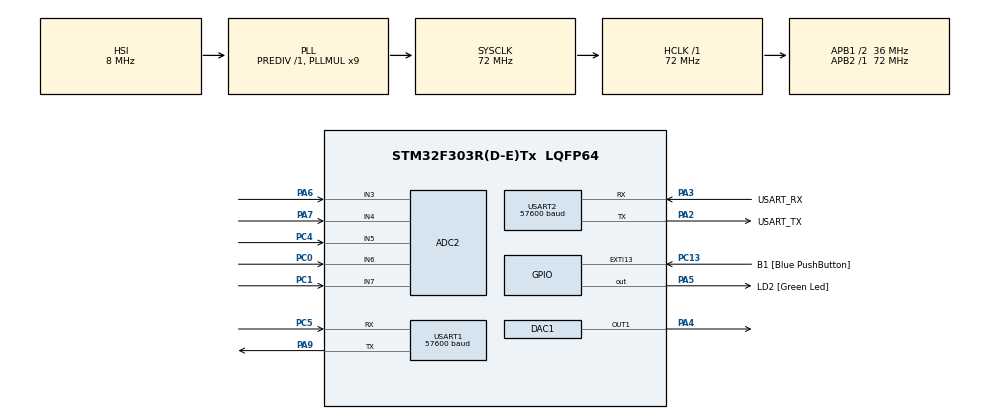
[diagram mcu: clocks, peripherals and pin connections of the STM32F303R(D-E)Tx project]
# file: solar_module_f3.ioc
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ADC2.Channel-0\#ChannelRegularConversion=ADC_CHANNEL_3
ADC2.Channel-1\#ChannelRegularConversion=ADC_CHANNEL_4
ADC2.Channel-2\#ChannelRegularConversion=ADC_CHANNEL_5
ADC2.Channel-3\#ChannelRegularConversion=ADC_CHANNEL_6
ADC2.Channel-4\#ChannelRegularConversion=ADC_CHANNEL_7
ADC2.ClockPrescaler=ADC_CLOCK_ASYNC_DIV1
ADC2.ContinuousConvMode=DISABLE
ADC2.DMAContinuousRequests=ENABLE
ADC2.DiscontinuousConvMode=DISABLE
ADC2.EOCSelection=ADC_EOC_SEQ_CONV
ADC2.EnableInjectedConversion=ENABLE
ADC2.ExternalTrigConv=ADC_EXTERNALTRIGCONV_T4_TRGO
ADC2.NbrOfConversion=5
ADC2.NbrOfConversionFlag=1
ADC2.Offset-0\#ChannelRegularConversion=0
ADC2.Offset-1\#ChannelRegularConversion=0
ADC2.Offset-2\#ChannelRegularConversion=0
ADC2.Offset-3\#ChannelRegularConversion=0
ADC2.Offset-4\#ChannelRegularConversion=0
ADC2.OffsetNumber-0\#ChannelRegularConversion=ADC_OFFSET_NONE
ADC2.OffsetNumber-1\#ChannelRegularConversion=ADC_OFFSET_NONE
ADC2.OffsetNumber-2\#ChannelRegularConversion=ADC_OFFSET_NONE
ADC2.OffsetNumber-3\#ChannelRegularConversion=ADC_OFFSET_NONE
ADC2.OffsetNumber-4\#ChannelRegularConversion=ADC_OFFSET_NONE
ADC2.Rank-0\#ChannelRegularConversion=1
ADC2.Rank-1\#ChannelRegularConversion=2
ADC2.Rank-2\#ChannelRegularConversion=3
ADC2.Rank-3\#ChannelRegularConversion=4
ADC2.Rank-4\#ChannelRegularConversion=5
ADC2.SamplingTime-0\#ChannelRegularConversion=ADC_SAMPLETIME_601CYCLES_5
ADC2.SamplingTime-1\#ChannelRegularConversion=ADC_SAMPLETIME_601CYCLES_5
ADC2.SamplingTime-2\#ChannelRegularConversion=ADC_SAMPLETIME_601CYCLES_5
ADC2.SamplingTime-3\#ChannelRegularConversion=ADC_SAMPLETIME_601CYCLES_5
ADC2.SamplingTime-4\#ChannelRegularConversion=ADC_SAMPLETIME_601CYCLES_5
DAC1.DAC_Trigger=DAC_TRIGGER_NONE
Dma.ADC2.0.Direction=DMA_PERIPH_TO_MEMORY
Dma.ADC2.0.Instance=DMA2_Channel1
Dma.ADC2.0.MemDataAlignment=DMA_MDATAALIGN_HALFWORD
Dma.ADC2.0.MemInc=DMA_MINC_ENABLE
Dma.ADC2.0.Mode=DMA_CIRCULAR
Dma.ADC2.0.PeriphDataAlignment=DMA_PDATAALIGN_HALFWORD
Dma.ADC2.0.PeriphInc=DMA_PINC_DISABLE
Dma.ADC2.0.Priority=DMA_PRIORITY_LOW
Dma.Request0=ADC2
Mcu.Family=STM32F3
Mcu.Name=STM32F303R(D-E)Tx
Mcu.Package=LQFP64
NVIC.DMA2_Channel1_IRQn=true\:0\:0\:false\:false\:true\:false
NVIC.PriorityGroup=NVIC_PRIORITYGROUP_0
NVIC.USART1_IRQn=true\:0\:0\:false\:false\:true\:true
NVIC.USART2_IRQn=true\:0\:0\:false\:false\:true\:true
PA13.GPIO_Label=TMS
PA13.Mode=Serial_Wire
PA13.Signal=SYS_JTMS-SWDIO
PA14.GPIO_Label=TCK
PA14.Mode=Serial_Wire
PA14.Signal=SYS_JTCK-SWCLK
PA2.GPIO_Label=USART_TX
PA2.GPIO_Mode=GPIO_MODE_AF_PP
PA2.GPIO_PuPd=GPIO_NOPULL
PA2.GPIO_Speed=GPIO_SPEED_FREQ_LOW
PA2.Mode=Asynchronous
PA2.Signal=USART2_TX
PA3.GPIO_Label=USART_RX
PA3.GPIO_Mode=GPIO_MODE_AF_PP
PA3.GPIO_PuPd=GPIO_NOPULL
PA3.GPIO_Speed=GPIO_SPEED_FREQ_LOW
PA3.Mode=Asynchronous
PA3.Signal=USART2_RX
PA4.Signal=COMP_DAC11_group
PA5.GPIO_Label=LD2 [Green Led]
PA5.GPIO_Mode=GPIO_MODE_OUTPUT_PP
PA5.GPIO_PuPd=GPIO_NOPULL
PA5.GPIO_Speed=GPIO_SPEED_FREQ_LOW
PA5.Signal=GPIO_Output
PA6.Mode=IN3-Single-Ended
PA6.Signal=ADC2_IN3
PA7.Mode=IN4-Single-Ended
PA7.Signal=ADC2_IN4
PA9.Mode=Asynchronous
PA9.Signal=USART1_TX
PB3.GPIO_Label=SWO
PB3.Signal=SYS_JTDO-TRACESWO
PC0.Signal=ADCx_IN6
PC1.Signal=ADCx_IN7
PC13.GPIO_Label=B1 [Blue PushButton]
PC13.GPIO_ModeDefaultEXTI=GPIO_MODE_IT_FALLING
PC13.Signal=GPXTI13
PC14-OSC32_IN.Mode=LSE-External-Oscillator
PC14-OSC32_IN.Signal=RCC_OSC32_IN
PC15-OSC32_OUT.Mode=LSE-External-Oscillator
PC15-OSC32_OUT.Signal=RCC_OSC32_OUT
PC4.Mode=IN5-Single-Ended
PC4.Signal=ADC2_IN5
PC5.Mode=Asynchronous
PC5.Signal=USART1_RX
PF0-OSC_IN.Mode=HSE-External-Clock-Source
PF0-OSC_IN.Signal=RCC_OSC_IN
PF1-OSC_OUT.Signal=RCC_OSC_OUT
ProjectManager.HeapSize=0x200
ProjectManager.StackSize=0x400
ProjectManager.TargetToolchain=Makefile
RCC.ADC12PRES=RCC_ADC12PLLCLK_DIV64
RCC.AHBFreq_Value=72000000
RCC.APB1CLKDivider=RCC_HCLK_DIV2
RCC.APB1Freq_Value=36000000
RCC.APB1TimFreq_Value=72000000
RCC.APB2Freq_Value=72000000
RCC.APB2TimFreq_Value=72000000
RCC.CortexFreq_Value=72000000
RCC.HCLKFreq_Value=72000000
RCC.HSE_VALUE=8000000
RCC.HSI_VALUE=8000000
RCC.PLLM=8
RCC.PLLMUL=RCC_PLL_MUL9
RCC.PLLN=336
RCC.PLLP=RCC_PLLP_DIV4
RCC.PLLQ=7
RCC.RCC_PLLsource_Clock_Source_FROM_HSE=RCC_HSE_PREDIV_DIV2
RCC.SYSCLKFreq_VALUE=72000000
RCC.SYSCLKSourceVirtual=RCC_SYSCLKSOURCE_PLLCLK
RCC.USBFreq_Value=72000000
SH.ADCx_IN6.0=ADC2_IN6,IN6-Single-Ended
SH.ADCx_IN7.0=ADC2_IN7,IN7-Single-Ended
SH.COMP_DAC11_group.0=DAC1_OUT1,DAC_OUT1
TIM4.AutoReloadPreload=TIM_AUTORELOAD_PRELOAD_ENABLE
TIM4.Channel-Output\ Compare4\ No\ Output=TIM_CHANNEL_4
TIM4.OCMode_4=TIM_OCMODE_TIMING
TIM4.Period=1000-1
TIM4.Prescaler=7200-1
TIM4.TIM_MasterOutputTrigger=TIM_TRGO_UPDATE
TIM4.TIM_MasterSlaveMode=TIM_MASTERSLAVEMODE_DISABLE
USART1.BaudRate=57600
USART1.VirtualMode-Asynchronous=VM_ASYNC
USART2.BaudRate=57600
USART2.VirtualMode-Asynchronous=VM_ASYNC
VP_TIM4_VS_ClockSourceINT.Mode=Internal
VP_TIM4_VS_no_output4.Mode=Output Compare4 No Output
board=NUCLEO-F303RE

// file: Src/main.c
/* USER CODE BEGIN Header */
/**
  ******************************************************************************
  * @file           : main.c
  * @brief          : Main program body
  ******************************************************************************
  ** This notice applies to any and all portions of this file
  * that are not between comment pairs USER CODE BEGIN and
  * USER CODE END. Other portions of this file, whether
  * inserted by the user or by software development tools
  * are owned by their respective copyright owners.
  *
  * hallo
  * stomme newlin
  * nog een nieuwe???
  *
  * COPYRIGHT(c) 2019 STMicroelectronics
  *
  * Redistribution and use in source and binary forms, with or without modification,
  * are permitted provided that the following conditions are met:
  *   1. Redistributions of source code must retain the above copyright notice,
  *      this list of conditions and the following disclaimer.
  *   2. Redistributions in binary form must reproduce the above copyright notice,
  *      this list of conditions and the following disclaimer in the documentation
  *      and/or other materials provided with the distribution.
  *   3. Neither the name of STMicroelectronics nor the names of its contributors
  *      may be used to endorse or promote products derived from this software
  *      without specific prior written permission.
  *
  * THIS SOFTWARE IS PROVIDED BY THE COPYRIGHT HOLDERS AND CONTRIBUTORS "AS IS"
  * AND ANY EXPRESS OR IMPLIED WARRANTIES, INCLUDING, BUT NOT LIMITED TO, THE
  * IMPLIED WARRANTIES OF MERCHANTABILITY AND FITNESS FOR A PARTICULAR PURPOSE ARE
  * DISCLAIMED. IN NO EVENT SHALL THE COPYRIGHT HOLDER OR CONTRIBUTORS BE LIABLE
  * FOR ANY DIRECT, INDIRECT, INCIDENTAL, SPECIAL, EXEMPLARY, OR CONSEQUENTIAL
  * DAMAGES (INCLUDING, BUT NOT LIMITED TO, PROCUREMENT OF SUBSTITUTE GOODS OR
  * SERVICES; LOSS OF USE, DATA, OR PROFITS; OR BUSINESS INTERRUPTION) HOWEVER
  * CAUSED AND ON ANY THEORY OF LIABILITY, WHETHER IN CONTRACT, STRICT LIABILITY,
  * OR TORT (INCLUDING NEGLIGENCE OR OTHERWISE) ARISING IN ANY WAY OUT OF THE USE
  * OF THIS SOFTWARE, EVEN IF ADVISED OF THE POSSIBILITY OF SUCH DAMAGE.
  *
  ******************************************************************************
  */
/* USER CODE END Header */

#include "main.h"

/* USER CODE BEGIN Includes */
#include <stdio.h>

#include "measurement.h"
/* USER CODE END Includes */

ADC_HandleTypeDef hadc2;
DMA_HandleTypeDef hdma_adc2;

DAC_HandleTypeDef hdac1;

TIM_HandleTypeDef htim4;

UART_HandleTypeDef huart1;
UART_HandleTypeDef huart2;

/* USER CODE BEGIN PV */
/* Private variables ---------------------------------------------------------*/

/* USER CODE END PV */

void SystemClock_Config(void);
static void MX_GPIO_Init(void);
static void MX_DMA_Init(void);
static void MX_USART2_UART_Init(void);
static void MX_DAC1_Init(void);
static void MX_ADC2_Init(void);
static void MX_USART1_UART_Init(void);
static void MX_TIM4_Init(void);
/* USER CODE BEGIN PFP */
/* Private function prototypes -----------------------------------------------*/
uint16_t set_OUT_mA(float mA);
/* USER CODE END PFP */

/* USER CODE BEGIN 0 */
volatile uint16_t adc_buffer[5] = {0};
volatile uint8_t data_ready = 0;
volatile uint16_t dac_value = 0;
uint16_t adc_target = 2088; // 7.5V input voltage
char uart_tx_buffer[100];
/* USER CODE END 0 */

int main(void)
{

  /* MCU Configuration--------------------------------------------------------*/

  /* Reset of all peripherals, Initializes the Flash interface and the Systick. */
  HAL_Init();

  /* Configure the system clock */
  SystemClock_Config();

  /* Initialize all configured peripherals */
  MX_GPIO_Init();
  MX_DMA_Init();
  MX_USART2_UART_Init();
  MX_DAC1_Init();
  MX_ADC2_Init();
  MX_USART1_UART_Init();
  MX_TIM4_Init();
  /* USER CODE BEGIN 2 */
  HAL_ADC_Start_DMA(&hadc2, (uint32_t*)&adc_buffer, 5);
  HAL_TIM_Base_Start_IT(&htim4);

  HAL_DAC_Start(&hdac1, DAC_CHANNEL_1);

  /* USER CODE END 2 */

  /* Infinite loop */
  /* USER CODE BEGIN WHILE */
  while (1)
  {
    if (!data_ready) {
      continue;
    }
    data_ready = 0;
    /* USER CODE END WHILE */

    /* USER CODE BEGIN 3 */
    //GPIO_PinState current_state = HAL_GPIO_ReadPin(LD2_GPIO_Port, LD2_Pin);
    //HAL_GPIO_WritePin(LD2_GPIO_Port, LD2_Pin, !current_state);

    // Toggle DAC
    /*
    if (current_state == GPIO_PIN_RESET) {
      HAL_DAC_SetValue(&hdac1, DAC_CHANNEL_1, DAC_ALIGN_12B_R, 869);
    } else {
      HAL_DAC_SetValue(&hdac1, DAC_CHANNEL_1, DAC_ALIGN_12B_R, 0x0000);
    }
    */

    // Enable output of the boost converter
    //HAL_DAC_SetValue(&hdac1, DAC_CHANNEL_1, DAC_ALIGN_12B_R, 869);

    // Send measurement status over UART
    uint32_t PV_mV = 0, BATT_mV = 0;
    int32_t PV_mA = 0, BATT_mA = 0, LOAD_mA = 0;

    PV_mV = get_PV_mV(adc_buffer[0]);

    int len = sprintf(uart_tx_buffer, "+MSR(%lu,%li,%lu,%li,%li) DAC %u\n", PV_mV, PV_mA, BATT_mV, BATT_mA, LOAD_mA, dac_value );
    static uint8_t uart_tx_cnt = 0;
    if (uart_tx_cnt == 5) {
      if (HAL_UART_Transmit_IT(&huart1, (uint8_t*)uart_tx_buffer, len) != HAL_OK) {
        Error_Handler();
      }

      if (PV_mV > 9000) {
        dac_value += 1;
      } else if (dac_value > 0) {
        dac_value -= 1;
      }

      if (dac_value > 4000) {
        dac_value = 4000;
      }

      HAL_DAC_SetValue(&hdac1, DAC_CHANNEL_1, DAC_ALIGN_12B_R, dac_value);

      HAL_GPIO_WritePin(LD2_GPIO_Port, LD2_Pin, GPIO_PIN_SET);
    } else {
      HAL_GPIO_WritePin(LD2_GPIO_Port, LD2_Pin, GPIO_PIN_RESET);
    }
    uart_tx_cnt = (uart_tx_cnt + 1) % (5 + 1);

  }
  /* USER CODE END 3 */
}

void SystemClock_Config(void)
{
  RCC_OscInitTypeDef RCC_OscInitStruct = {0};
  RCC_ClkInitTypeDef RCC_ClkInitStruct = {0};
  RCC_PeriphCLKInitTypeDef PeriphClkInit = {0};

  /**Initializes the CPU, AHB and APB busses clocks
  */
  RCC_OscInitStruct.OscillatorType = RCC_OSCILLATORTYPE_HSI;
  RCC_OscInitStruct.HSIState = RCC_HSI_ON;
  RCC_OscInitStruct.HSICalibrationValue = RCC_HSICALIBRATION_DEFAULT;
  RCC_OscInitStruct.PLL.PLLState = RCC_PLL_ON;
  RCC_OscInitStruct.PLL.PLLSource = RCC_PLLSOURCE_HSI;
  RCC_OscInitStruct.PLL.PLLMUL = RCC_PLL_MUL9;
  RCC_OscInitStruct.PLL.PREDIV = RCC_PREDIV_DIV1;
  if (HAL_RCC_OscConfig(&RCC_OscInitStruct) != HAL_OK)
  {
    Error_Handler();
  }
  /**Initializes the CPU, AHB and APB busses clocks
  */
  RCC_ClkInitStruct.ClockType = RCC_CLOCKTYPE_HCLK|RCC_CLOCKTYPE_SYSCLK
                              |RCC_CLOCKTYPE_PCLK1|RCC_CLOCKTYPE_PCLK2;
  RCC_ClkInitStruct.SYSCLKSource = RCC_SYSCLKSOURCE_PLLCLK;
  RCC_ClkInitStruct.AHBCLKDivider = RCC_SYSCLK_DIV1;
  RCC_ClkInitStruct.APB1CLKDivider = RCC_HCLK_DIV2;
  RCC_ClkInitStruct.APB2CLKDivider = RCC_HCLK_DIV1;

  if (HAL_RCC_ClockConfig(&RCC_ClkInitStruct, FLASH_LATENCY_2) != HAL_OK)
  {
    Error_Handler();
  }
  PeriphClkInit.PeriphClockSelection = RCC_PERIPHCLK_USART1|RCC_PERIPHCLK_USART2
                              |RCC_PERIPHCLK_ADC12|RCC_PERIPHCLK_TIM34;
  PeriphClkInit.Usart1ClockSelection = RCC_USART1CLKSOURCE_PCLK2;
  PeriphClkInit.Usart2ClockSelection = RCC_USART2CLKSOURCE_PCLK1;
  PeriphClkInit.Adc12ClockSelection = RCC_ADC12PLLCLK_DIV64;
  PeriphClkInit.Tim34ClockSelection = RCC_TIM34CLK_HCLK;
  if (HAL_RCCEx_PeriphCLKConfig(&PeriphClkInit) != HAL_OK)
  {
    Error_Handler();
  }
}

static void MX_ADC2_Init(void)
{

  ADC_ChannelConfTypeDef sConfig = {0};

  /**Common config
  */
  hadc2.Instance = ADC2;
  hadc2.Init.ClockPrescaler = ADC_CLOCK_ASYNC_DIV1;
  hadc2.Init.Resolution = ADC_RESOLUTION_12B;
  hadc2.Init.ScanConvMode = ADC_SCAN_ENABLE;
  hadc2.Init.ContinuousConvMode = DISABLE;
  hadc2.Init.DiscontinuousConvMode = DISABLE;
  hadc2.Init.ExternalTrigConvEdge = ADC_EXTERNALTRIGCONVEDGE_RISING;
  hadc2.Init.ExternalTrigConv = ADC_EXTERNALTRIGCONV_T4_TRGO;
  hadc2.Init.DataAlign = ADC_DATAALIGN_RIGHT;
  hadc2.Init.NbrOfConversion = 5;
  hadc2.Init.DMAContinuousRequests = ENABLE;
  hadc2.Init.EOCSelection = ADC_EOC_SEQ_CONV;
  hadc2.Init.LowPowerAutoWait = DISABLE;
  hadc2.Init.Overrun = ADC_OVR_DATA_OVERWRITTEN;
  if (HAL_ADC_Init(&hadc2) != HAL_OK)
  {
    Error_Handler();
  }
  /**Configure Regular Channel
  */
  sConfig.Channel = ADC_CHANNEL_3;
  sConfig.Rank = ADC_REGULAR_RANK_1;
  sConfig.SingleDiff = ADC_SINGLE_ENDED;
  sConfig.SamplingTime = ADC_SAMPLETIME_601CYCLES_5;
  sConfig.OffsetNumber = ADC_OFFSET_NONE;
  sConfig.Offset = 0;
  if (HAL_ADC_ConfigChannel(&hadc2, &sConfig) != HAL_OK)
  {
    Error_Handler();
  }
  /**Configure Regular Channel
  */
  sConfig.Channel = ADC_CHANNEL_4;
  sConfig.Rank = ADC_REGULAR_RANK_2;
  if (HAL_ADC_ConfigChannel(&hadc2, &sConfig) != HAL_OK)
  {
    Error_Handler();
  }
  /**Configure Regular Channel
  */
  sConfig.Channel = ADC_CHANNEL_5;
  sConfig.Rank = ADC_REGULAR_RANK_3;
  if (HAL_ADC_ConfigChannel(&hadc2, &sConfig) != HAL_OK)
  {
    Error_Handler();
  }
  /**Configure Regular Channel
  */
  sConfig.Channel = ADC_CHANNEL_6;
  sConfig.Rank = ADC_REGULAR_RANK_4;
  if (HAL_ADC_ConfigChannel(&hadc2, &sConfig) != HAL_OK)
  {
    Error_Handler();
  }
  /**Configure Regular Channel
  */
  sConfig.Channel = ADC_CHANNEL_7;
  sConfig.Rank = ADC_REGULAR_RANK_5;
  if (HAL_ADC_ConfigChannel(&hadc2, &sConfig) != HAL_OK)
  {
    Error_Handler();
  }

}

static void MX_DAC1_Init(void)
{

  DAC_ChannelConfTypeDef sConfig = {0};

  /**DAC Initialization
  */
  hdac1.Instance = DAC1;
  if (HAL_DAC_Init(&hdac1) != HAL_OK)
  {
    Error_Handler();
  }
  /**DAC channel OUT1 config
  */
  sConfig.DAC_Trigger = DAC_TRIGGER_NONE;
  sConfig.DAC_OutputBuffer = DAC_OUTPUTBUFFER_ENABLE;
  if (HAL_DAC_ConfigChannel(&hdac1, &sConfig, DAC_CHANNEL_1) != HAL_OK)
  {
    Error_Handler();
  }

}

static void MX_TIM4_Init(void)
{

  TIM_ClockConfigTypeDef sClockSourceConfig = {0};
  TIM_MasterConfigTypeDef sMasterConfig = {0};
  TIM_OC_InitTypeDef sConfigOC = {0};

  htim4.Instance = TIM4;
  htim4.Init.Prescaler = 7200-1;
  htim4.Init.CounterMode = TIM_COUNTERMODE_UP;
  htim4.Init.Period = 1000-1;
  htim4.Init.ClockDivision = TIM_CLOCKDIVISION_DIV1;
  htim4.Init.AutoReloadPreload = TIM_AUTORELOAD_PRELOAD_ENABLE;
  if (HAL_TIM_Base_Init(&htim4) != HAL_OK)
  {
    Error_Handler();
  }
  sClockSourceConfig.ClockSource = TIM_CLOCKSOURCE_INTERNAL;
  if (HAL_TIM_ConfigClockSource(&htim4, &sClockSourceConfig) != HAL_OK)
  {
    Error_Handler();
  }
  if (HAL_TIM_OC_Init(&htim4) != HAL_OK)
  {
    Error_Handler();
  }
  sMasterConfig.MasterOutputTrigger = TIM_TRGO_UPDATE;
  sMasterConfig.MasterSlaveMode = TIM_MASTERSLAVEMODE_DISABLE;
  if (HAL_TIMEx_MasterConfigSynchronization(&htim4, &sMasterConfig) != HAL_OK)
  {
    Error_Handler();
  }
  sConfigOC.OCMode = TIM_OCMODE_TIMING;
  sConfigOC.Pulse = 0;
  sConfigOC.OCPolarity = TIM_OCPOLARITY_HIGH;
  sConfigOC.OCFastMode = TIM_OCFAST_DISABLE;
  if (HAL_TIM_OC_ConfigChannel(&htim4, &sConfigOC, TIM_CHANNEL_4) != HAL_OK)
  {
    Error_Handler();
  }

}

static void MX_USART1_UART_Init(void)
{

  huart1.Instance = USART1;
  huart1.Init.BaudRate = 57600;
  huart1.Init.WordLength = UART_WORDLENGTH_8B;
  huart1.Init.StopBits = UART_STOPBITS_1;
  huart1.Init.Parity = UART_PARITY_NONE;
  huart1.Init.Mode = UART_MODE_TX_RX;
  huart1.Init.HwFlowCtl = UART_HWCONTROL_NONE;
  huart1.Init.OverSampling = UART_OVERSAMPLING_16;
  huart1.Init.OneBitSampling = UART_ONE_BIT_SAMPLE_DISABLE;
  huart1.AdvancedInit.AdvFeatureInit = UART_ADVFEATURE_NO_INIT;
  if (HAL_UART_Init(&huart1) != HAL_OK)
  {
    Error_Handler();
  }

}

static void MX_USART2_UART_Init(void)
{

  huart2.Instance = USART2;
  huart2.Init.BaudRate = 57600;
  huart2.Init.WordLength = UART_WORDLENGTH_8B;
  huart2.Init.StopBits = UART_STOPBITS_1;
  huart2.Init.Parity = UART_PARITY_NONE;
  huart2.Init.Mode = UART_MODE_TX_RX;
  huart2.Init.HwFlowCtl = UART_HWCONTROL_NONE;
  huart2.Init.OverSampling = UART_OVERSAMPLING_16;
  huart2.Init.OneBitSampling = UART_ONE_BIT_SAMPLE_DISABLE;
  huart2.AdvancedInit.AdvFeatureInit = UART_ADVFEATURE_NO_INIT;
  if (HAL_UART_Init(&huart2) != HAL_OK)
  {
    Error_Handler();
  }

}

static void MX_DMA_Init(void)
{
  /* DMA controller clock enable */
  __HAL_RCC_DMA2_CLK_ENABLE();

  /* DMA interrupt init */
  /* DMA2_Channel1_IRQn interrupt configuration */
  HAL_NVIC_SetPriority(DMA2_Channel1_IRQn, 0, 0);
  HAL_NVIC_EnableIRQ(DMA2_Channel1_IRQn);

}

static void MX_GPIO_Init(void)
{
  GPIO_InitTypeDef GPIO_InitStruct = {0};

  /* GPIO Ports Clock Enable */
  __HAL_RCC_GPIOC_CLK_ENABLE();
  __HAL_RCC_GPIOF_CLK_ENABLE();
  __HAL_RCC_GPIOA_CLK_ENABLE();
  __HAL_RCC_GPIOB_CLK_ENABLE();

  /*Configure GPIO pin Output Level */
  HAL_GPIO_WritePin(LD2_GPIO_Port, LD2_Pin, GPIO_PIN_RESET);

  /*Configure GPIO pin : B1_Pin */
  GPIO_InitStruct.Pin = B1_Pin;
  GPIO_InitStruct.Mode = GPIO_MODE_IT_FALLING;
  GPIO_InitStruct.Pull = GPIO_NOPULL;
  HAL_GPIO_Init(B1_GPIO_Port, &GPIO_InitStruct);

  /*Configure GPIO pin : LD2_Pin */
  GPIO_InitStruct.Pin = LD2_Pin;
  GPIO_InitStruct.Mode = GPIO_MODE_OUTPUT_PP;
  GPIO_InitStruct.Pull = GPIO_NOPULL;
  GPIO_InitStruct.Speed = GPIO_SPEED_FREQ_LOW;
  HAL_GPIO_Init(LD2_GPIO_Port, &GPIO_InitStruct);

}

/* USER CODE BEGIN 4 */
void HAL_ADC_ConvCpltCallback(ADC_HandleTypeDef* hadc){
  /* Toggle LED */
  //HAL_GPIO_WritePin(LD2_GPIO_Port, LD2_Pin, GPIO_PIN_RESET);
  data_ready = 1;
}

//void HAL_ADC_ConvHalfCpltCallback(ADC_HandleTypeDef* hadc){
//  /* Toggle LED */
//  for (int i = 0; i < 5; i++) {
//    adc_buffer[i] = 999;
//    tmp[i] = adc_buffer[i];
//  }

//  //HAL_GPIO_WritePin(LD2_GPIO_Port, LD2_Pin, GPIO_PIN_SET);
//}

uint16_t set_OUT_mA(float mA)
{
  const float R1 = 680.0f;              // [kOhm]
  const float R2 = 20.0f;               // [kOhm]
  const float Vref = 3.3f;              // [V]
  const float sensitivity = 100000.0f;  // [mA/V]

  uint16_t adc = (uint16_t) ( (mA / sensitivity) * (R1 + R2) * 4096.0f) / (R2 * Vref);

  if (adc >= 4095) {
    adc = 4095;
  }
  return adc;
}

/* USER CODE END 4 */

void Error_Handler(void)
{
  while(1)
  {
  }
}

/************************ (C) COPYRIGHT STMicroelectronics *****END OF FILE****/
